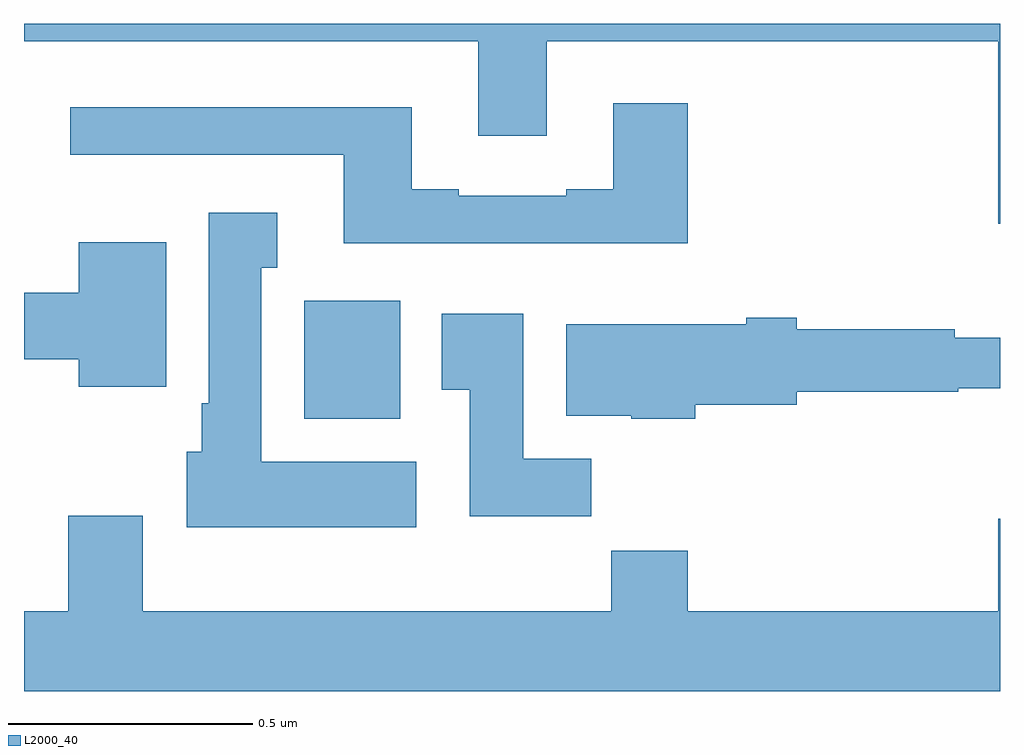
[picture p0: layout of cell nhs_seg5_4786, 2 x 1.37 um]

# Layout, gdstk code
import gdstk
lib = gdstk.Library(unit=1e-6, precision=1e-09)
def R(c, l, rs):  # rectangles x0, y0, x1, y1
    for r in rs: c.add(gdstk.rectangle(r[:2], r[2:], *l))
def P(c, l, *ps):  # polygons
    for p in ps: c.add(gdstk.Polygon(p, *l))
L2000_40 = (2000, 40)

nhs_seg5_4786 = lib.new_cell('nhs_seg5_4786')
R(nhs_seg5_4786, L2000_40, [(175.574,851.99,175.771,852.232)])
P(nhs_seg5_4786, L2000_40, [(177,852.799),(175,852.799),(175,852.764),(175.931,852.764),(175.931,852.57),(176.071,852.57),(176.071,852.764),(176.996,852.764),(176.996,852.39),(177,852.39)],
  [(176.36,852.637),(176.207,852.637),(176.207,852.46),(176.111,852.46),(176.111,852.447),(175.891,852.447),(175.891,852.46),(175.795,852.46),(175.795,852.628),(175.095,852.628),(175.095,852.531),(175.655,852.531),(175.655,852.35),(176.36,852.35)],
  [(175.804,851.902),(175.486,851.902),(175.486,852.299),(175.519,852.299),(175.519,852.412),(175.379,852.412),(175.379,852.022),(175.364,852.022),(175.364,851.922),(175.334,851.922),(175.334,851.768),(175.804,851.768)],
  [(175.291,852.352),(175.112,852.352),(175.112,852.248),(175,852.248),(175,852.112),(175.112,852.112),(175.112,852.056),(175.291,852.056)],
  [(176.162,851.908),(176.023,851.908),(176.023,852.205),(175.856,852.205),(175.856,852.049),(175.913,852.049),(175.913,851.79),(176.162,851.79)],
  [(176.375,852.019),(176.584,852.019),(176.584,852.045),(176.914,852.045),(176.914,852.052),(177,852.052),(177,852.156),(176.907,852.156),(176.907,852.173),(176.584,852.173),(176.584,852.197),(176.48,852.197),(176.48,852.184),(176.111,852.184),(176.111,851.996),(176.244,851.996),(176.244,851.99),(176.375,851.99)],
  [(177,851.785),(176.996,851.785),(176.996,851.596),(176.36,851.596),(176.36,851.72),(176.203,851.72),(176.203,851.596),(175.243,851.596),(175.243,851.791),(175.091,851.791),(175.091,851.596),(175,851.596),(175,851.432),(177,851.432)])

lib.write_gds('nhs_seg5_4786.gds')
